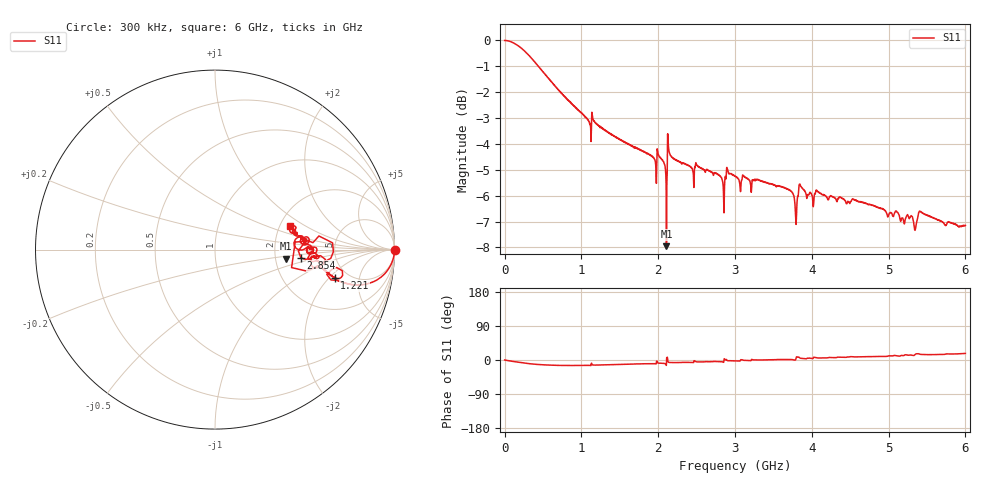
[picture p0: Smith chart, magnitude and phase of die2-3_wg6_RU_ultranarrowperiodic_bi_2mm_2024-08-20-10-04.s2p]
!Keysight Technologies,P9374A,MY57304198,A.17.20.09
!Date: Tuesday, August 20, 2024 10:04:32
!Correction: S11(C  1-Port  )
!S21(C  1-Port  )
!S12(Off)
!S22(Off)
!S2P File: Measurements: S11, S21, S12, S22:
# Hz S  dB  R 50
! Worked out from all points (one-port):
!   6000 points, 300 kHz to 6 GHz, reference 50 ohm
!   lowest |S11| = -8.0 dB at 2.108 GHz (marker M1), VSWR 2.33, Z = 115 - j14 ohm
!   |S11| at or under -10 dB: nowhere
!   S11 on the Smith chart (normalised r, x): 300 kHz: open; 1.221 GHz: 3.91, -2.31; 2.854 GHz: 2.81, -0.33; 6 GHz: 2.28, +0.74
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300000  0.00 -0.0  -200.00 45.0  -200.00 45.0  -200.00 45.0
2.413281e8  -0.35 -7.7  -200.00 45.0  -200.00 45.0  -200.00 45.0
4.213491e8  -0.92 -11.5  -200.00 45.0  -200.00 45.0  -200.00 45.0
1.000417e9  -2.81 -14.3  -200.00 45.0  -200.00 45.0  -200.00 45.0
1.221442e9  -3.29 -13.3  -200.00 45.0  -200.00 45.0  -200.00 45.0
2.000533e9  -4.41 -8.1  -200.00 45.0  -200.00 45.0  -200.00 45.0
2.076542e9  -4.75 -9.0  -200.00 45.0  -200.00 45.0  -200.00 45.0
2.107546e9  -7.95 -7.3  -200.00 45.0  -200.00 45.0  -200.00 45.0
2.149551e9  -4.37 -6.5  -200.00 45.0  -200.00 45.0  -200.00 45.0
2.440585e9  -4.94 -6.3  -200.00 45.0  -200.00 45.0  -200.00 45.0
2.823629e9  -5.30 -4.4  -200.00 45.0  -200.00 45.0  -200.00 45.0
2.853633e9  -6.37 -5.4  -200.00 45.0  -200.00 45.0  -200.00 45.0
2.91564e9  -5.14 -2.0  -200.00 45.0  -200.00 45.0  -200.00 45.0
3.00065e9  -5.23 -2.2  -200.00 45.0  -200.00 45.0  -200.00 45.0
3.761739e9  -5.98 0.7  -200.00 45.0  -200.00 45.0  -200.00 45.0
3.825746e9  -5.93 7.9  -200.00 45.0  -200.00 45.0  -200.00 45.0
3.861751e9  -5.65 4.3  -200.00 45.0  -200.00 45.0  -200.00 45.0
4.000767e9  -5.98 4.0  -200.00 45.0  -200.00 45.0  -200.00 45.0
5.000883e9  -6.75 11.0  -200.00 45.0  -200.00 45.0  -200.00 45.0
5.31692e9  -6.90 12.1  -200.00 45.0  -200.00 45.0  -200.00 45.0
5.382928e9  -6.79 16.7  -200.00 45.0  -200.00 45.0  -200.00 45.0
6e9  -7.15 17.3  -200.00 45.0  -200.00 45.0  -200.00 45.0
